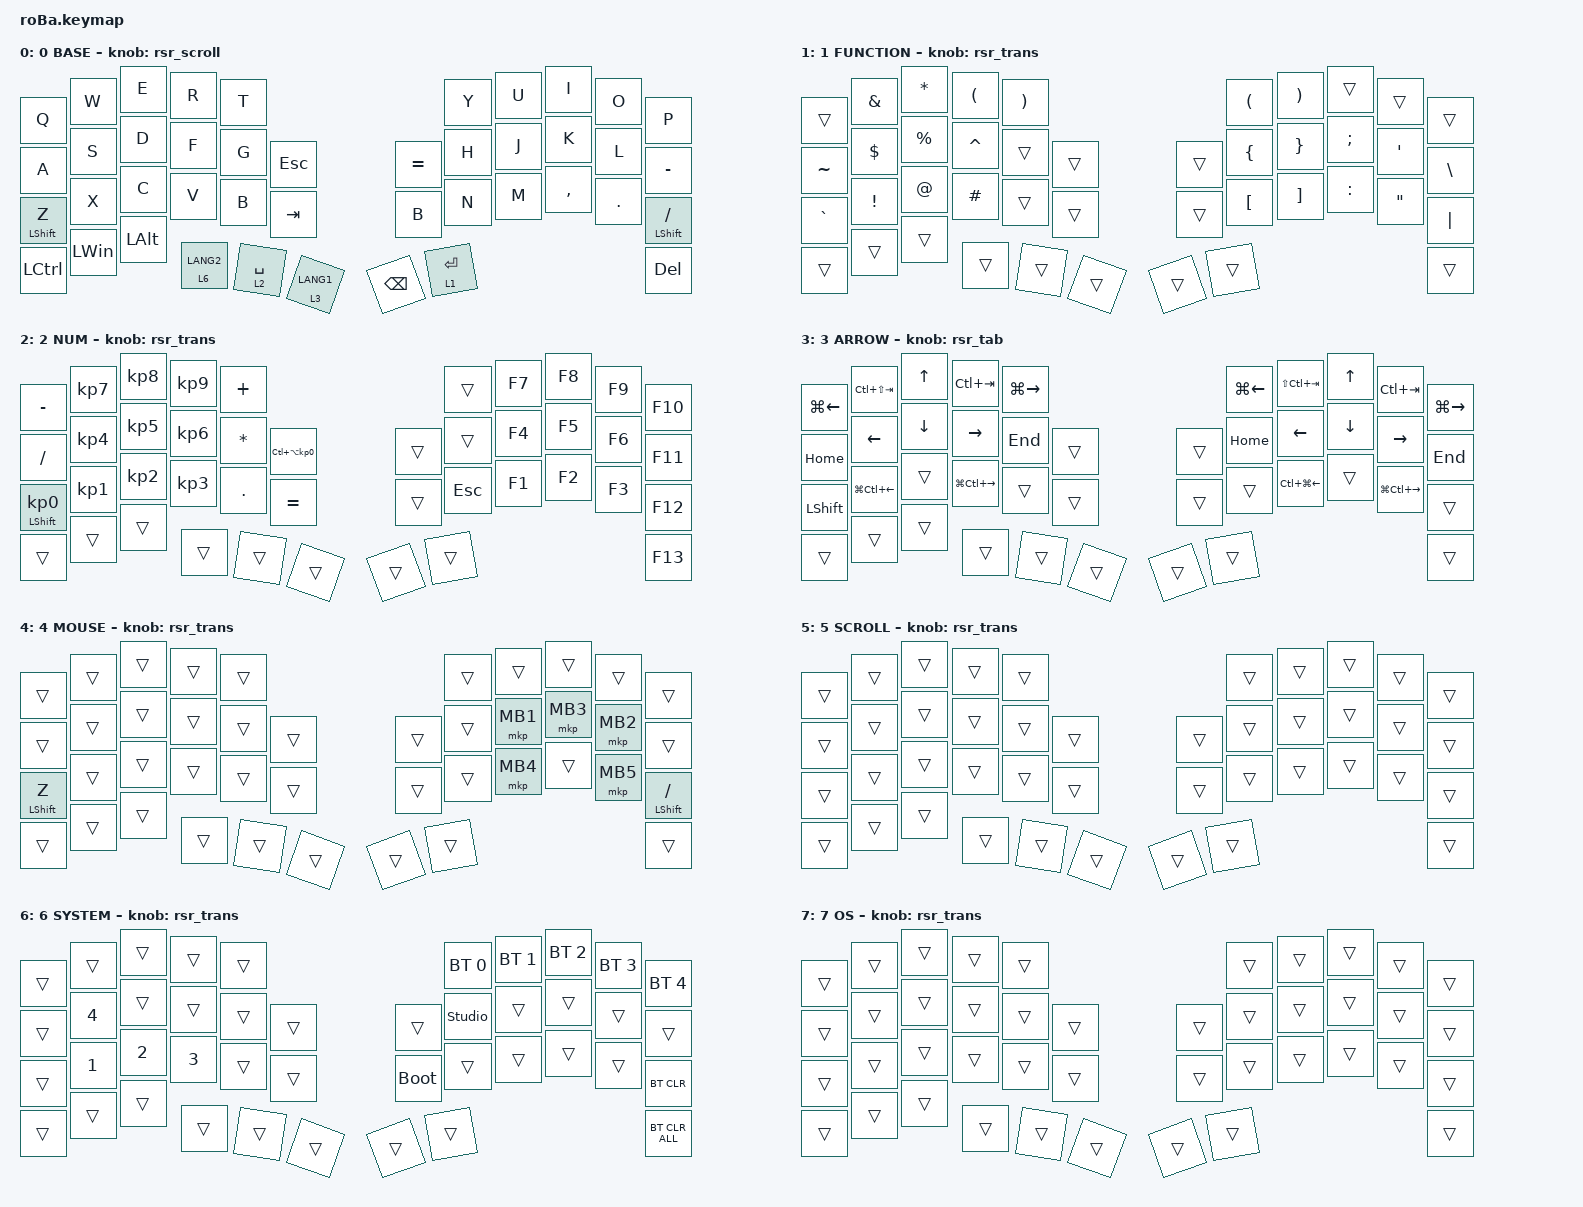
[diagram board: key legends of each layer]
#include <behaviors/runtime-sensor-rotate.dtsi>
#include <behaviors.dtsi>
// 実行時マクロの &rmacro <スロット>。DYA Studio で作ったマクロをキーやコンボに割り当てるのに必要
#include <behaviors/runtime_macro.dtsi>
#include <dt-bindings/zmk/bt.h>
#include <dt-bindings/zmk/keys.h>
#include <dt-bindings/zmk/pointing.h>

&mt {
    flavor = "balanced";
    quick-tap-ms = <0>;
};

/ {
    combos {
        compatible = "zmk,combos";

        tab {
            bindings = <&kp TAB>;
            key-positions = <11 12>;
        };

        shift_tab {
            bindings = <&kp LS(TAB)>;
            key-positions = <12 13>;
        };

        muhennkann {
            bindings = <&to_layer_0 INT_MUHENKAN>;
            key-positions = <11 10>;
        };

        double_quotation {
            bindings = <&kp DOUBLE_QUOTES>;
            key-positions = <20 21>;
        };

        eq {
            bindings = <&kp EQUAL>;
            key-positions = <24 25>;
        };
    };

    macros {
        // 非推奨の label の代わりにノード名を大文字にして、behavior の内部名を "TO_LAYER_0" のまま保つ。
        // 内部名が変わると、DYA Studio などで本体に保存した割り当てが解決できなくなる
        to_layer_0: TO_LAYER_0 {
            compatible = "zmk,behavior-macro-one-param";
            #binding-cells = <1>;
            bindings = <&to_keep 0 &macro_param_1to1 &kp MACRO_PLACEHOLDER>;
        };
    };

    behaviors {
        // レイヤー 0 へ戻る。ZMK 標準の &to はロック付きのレイヤーまで解除するので、
        // OS 別の既定レイヤー（OS レイヤー）が A+S コンボで消えてしまう。ロックされたレイヤーは残す版を使う
        to_keep: to_keep {
            compatible = "zmk,behavior-to-layer";
            #binding-cells = <1>;
            display-name = "To Layer (keep locked)";
        };

        // ロータリーエンコーダー: DYA Studio でランタイムに割り当て変更可能。
        // cw-binding/ccw-binding はデフォルト値で、Studio 設定があれば上書きされる。
        // tap-ms は 1 クリックで割り当てを押している時間で、DYA Studio で新しく割り当てるときの
        // Tap Time の初期値にもなる（保存済みの割り当ては、保存したときの値のまま）。
        // マウススクロール（&msc）は押してから 16 ms 後に最初の量を送るので、16 より短いとスクロールしない

        // 既定レイヤー用: マウスホイールと同じ縦スクロール。向きは Windows のホイールに合わせ、
        // 以前 PageUp を割り当てていた回転方向が上スクロールになる。
        // &msc は押している間、16 ms ごとに「値 × 16 / 1000」段を送る。tap-ms が 16 なので 1 クリックで
        // 1 回だけ送られ、値 100 なら 1.6 → 1 段になる（ZMK 既定の SCRL_UP は値が 10 で、0.16 段にしか
        // ならずスクロールしない）
        rsr_scroll: rsr_scroll {
            compatible = "zmk,behavior-runtime-sensor-rotate";
            #sensor-binding-cells = <0>;
            tap-ms = <16>;
            cw-binding = <&msc MOVE_Y(100)>;
            ccw-binding = <&msc MOVE_Y(-100)>;
        };

        rsr_tab: rsr_tab {
            compatible = "zmk,behavior-runtime-sensor-rotate";
            #sensor-binding-cells = <0>;
            tap-ms = <16>;
            cw-binding = <&kp LC(PAGE_UP)>;
            ccw-binding = <&kp LC(PAGE_DOWN)>;
        };
    };

    keymap {
        compatible = "zmk,keymap";

        // display-name の先頭にレイヤー番号を入れる。Studio で &mo や &lt のレイヤーを選ぶときに、
        // どの番号がどのレイヤーかを見分けるため。レイヤーを並べ替えたら番号も直す
        default_layer {
            display-name = "0 BASE";
            bindings = <
&kp Q             &kp W         &kp E         &kp R        &kp T                                        &kp Y        &kp U  &kp I      &kp O    &kp P
&kp A             &kp S         &kp D         &kp F        &kp G        &kp ESC          &kp EQUAL      &kp H        &kp J  &kp K      &kp L    &kp MINUS
&mt LEFT_SHIFT Z  &kp X         &kp C         &kp V        &kp B        &kp TAB          &kp B          &kp N        &kp M  &kp COMMA  &kp DOT  &mt LEFT_SHIFT SLASH
&kp LCTRL         &kp LEFT_WIN  &kp LEFT_ALT  &lt 6 LANG2  &lt 2 SPACE  &lt 3 LANG1      &kp BACKSPACE  &lt 1 ENTER                             &kp DEL
            >;

            sensor-bindings = <&rsr_scroll>;
        };

        FUNCTION {
            display-name = "1 FUNCTION";
            bindings = <
&trans     &kp AMPERSAND    &kp ASTERISK  &kp LEFT_PARENTHESIS  &kp RIGHT_PARENTHESIS                      &kp LEFT_PARENTHESIS  &kp RIGHT_PARENTHESIS  &trans         &trans             &trans
&kp TILDE  &kp DOLLAR       &kp PERCENT   &kp CARET             &trans                 &trans      &trans  &kp LEFT_BRACE        &kp RIGHT_BRACE        &kp SEMICOLON  &kp SINGLE_QUOTE   &kp BACKSLASH
&kp GRAVE  &kp EXCLAMATION  &kp AT        &kp HASH              &trans                 &trans      &trans  &kp LEFT_BRACKET      &kp RIGHT_BRACKET      &kp COLON      &kp DOUBLE_QUOTES  &kp PIPE
&trans     &trans           &trans        &trans                &trans                 &trans      &trans  &trans                                                                         &trans
            >;

            sensor-bindings = <&rsr_trans>;
        };

        NUM {
            display-name = "2 NUM";
            bindings = <
&kp MINUS                   &kp KP_NUMBER_7  &kp KP_NUMBER_8  &kp KP_NUMBER_9  &kp PLUS                                           &trans      &kp F7  &kp F8  &kp F9  &kp F10
&kp SLASH                   &kp KP_NUMBER_4  &kp KP_NUMBER_5  &kp KP_NUMBER_6  &kp ASTERISK  &kp LC(LA(KP_NUMBER_0))      &trans  &trans      &kp F4  &kp F5  &kp F6  &kp F11
&mt LEFT_SHIFT KP_NUMBER_0  &kp KP_NUMBER_1  &kp KP_NUMBER_2  &kp KP_NUMBER_3  &kp PERIOD    &kp EQUAL                    &trans  &kp ESCAPE  &kp F1  &kp F2  &kp F3  &kp F12
&trans                      &trans           &trans           &trans           &trans        &trans                       &trans  &trans                              &kp F13
            >;

            sensor-bindings = <&rsr_trans>;
        };

        ARROW {
            display-name = "3 ARROW";
            bindings = <
&kp LG(LEFT_ARROW)  &kp LC(LS(TAB))         &kp UP_ARROW    &kp LC(TAB)              &kp LG(RIGHT_ARROW)                      &kp LG(LEFT_ARROW)  &kp LS(LC(TAB))         &kp UP_ARROW    &kp LC(TAB)              &kp LG(RIGHT_ARROW)
&kp HOME            &kp LEFT_ARROW          &kp DOWN_ARROW  &kp RIGHT_ARROW          &kp END              &trans      &trans  &kp HOME            &kp LEFT_ARROW          &kp DOWN_ARROW  &kp RIGHT_ARROW          &kp END
&kp LEFT_SHIFT      &kp LG(LC(LEFT_ARROW))  &trans          &kp LG(LC(RIGHT_ARROW))  &trans               &trans      &trans  &trans              &kp LC(LG(LEFT_ARROW))  &trans          &kp LG(LC(RIGHT_ARROW))  &trans
&trans              &trans                  &trans          &trans                   &trans               &trans      &trans  &trans                                                                               &trans
            >;

            sensor-bindings = <&rsr_tab>;
        };

        // オートマウスで入るレイヤー。ここで &trans のキーを押すと、オートマウスはその場で解除される
        // （Ctrl・Win・Alt は例外で、解除されない）。&trans 以外を置いたキーでは解除されない。
        // J・K・L = 左・中・右クリック、M = 戻る、. = 進む。
        // Z と / は既定レイヤーと同じ割り当てを置き直している。長押しの Shift でオートマウスが
        // 解除されないようにして、Shift を押しながらクリックできるようにするため
        MOUSE {
            display-name = "4 MOUSE";
            bindings = <
&trans            &trans  &trans  &trans  &trans                      &trans  &trans    &trans    &trans    &trans
&trans            &trans  &trans  &trans  &trans  &trans      &trans  &trans  &mkp MB1  &mkp MB3  &mkp MB2  &trans
&mt LEFT_SHIFT Z  &trans  &trans  &trans  &trans  &trans      &trans  &trans  &mkp MB4  &trans    &mkp MB5  &mt LEFT_SHIFT SLASH
&trans            &trans  &trans  &trans  &trans  &trans      &trans  &trans                                &trans
            >;

            sensor-bindings = <&rsr_trans>;
        };

        // 使っていない（入るキーがない）。消すとレイヤー 6・7 の番号が 1 つずつ繰り上がり、
        // Studio に保存した割り当てと OS レイヤー（7）の設定がずれるので残している
        SCROLL {
            display-name = "5 SCROLL";
            bindings = <
&trans  &trans  &trans  &trans  &trans                      &trans  &trans  &trans  &trans  &trans
&trans  &trans  &trans  &trans  &trans  &trans      &trans  &trans  &trans  &trans  &trans  &trans
&trans  &trans  &trans  &trans  &trans  &trans      &trans  &trans  &trans  &trans  &trans  &trans
&trans  &trans  &trans  &trans  &trans  &trans      &trans  &trans                          &trans
            >;

            sensor-bindings = <&rsr_trans>;
        };

        layer_6 {
            display-name = "6 SYSTEM";
            bindings = <
&trans  &trans        &trans        &trans        &trans                           &bt BT_SEL 0    &bt BT_SEL 1  &bt BT_SEL 2  &bt BT_SEL 3  &bt BT_SEL 4
&trans  &kp NUMBER_4  &trans        &trans        &trans  &trans      &trans       &studio_unlock  &trans        &trans        &trans        &trans
&trans  &kp NUMBER_1  &kp NUMBER_2  &kp NUMBER_3  &trans  &trans      &bootloader  &trans          &trans        &trans        &trans        &bt BT_CLR
&trans  &trans        &trans        &trans        &trans  &trans      &trans       &trans                                                    &bt BT_CLR_ALL
            >;

            sensor-bindings = <&rsr_trans>;
        };

        // OS レイヤー: 接続先の OS に応じて DYA Studio の Connection タブから自動で重ねる差分レイヤー
        // （config/roBa_R.conf の CONFIG_ZMK_DEFAULT_LAYER_MIN/MAX_INDEX=7 で、このレイヤーだけを管理させる）。
        // 初期値はすべて透過で、動作は変わらない。Mac 用の差分キーは DYA Studio で置く。
        // 最上位のレイヤーなので、ここに置いたキーはレイヤー 1〜6 の同じ位置より優先される
        os_layer {
            display-name = "7 OS";
            bindings = <
&trans  &trans  &trans  &trans  &trans                      &trans  &trans  &trans  &trans  &trans
&trans  &trans  &trans  &trans  &trans  &trans      &trans  &trans  &trans  &trans  &trans  &trans
&trans  &trans  &trans  &trans  &trans  &trans      &trans  &trans  &trans  &trans  &trans  &trans
&trans  &trans  &trans  &trans  &trans  &trans      &trans  &trans                          &trans
            >;

            sensor-bindings = <&rsr_trans>;
        };
    };
};
